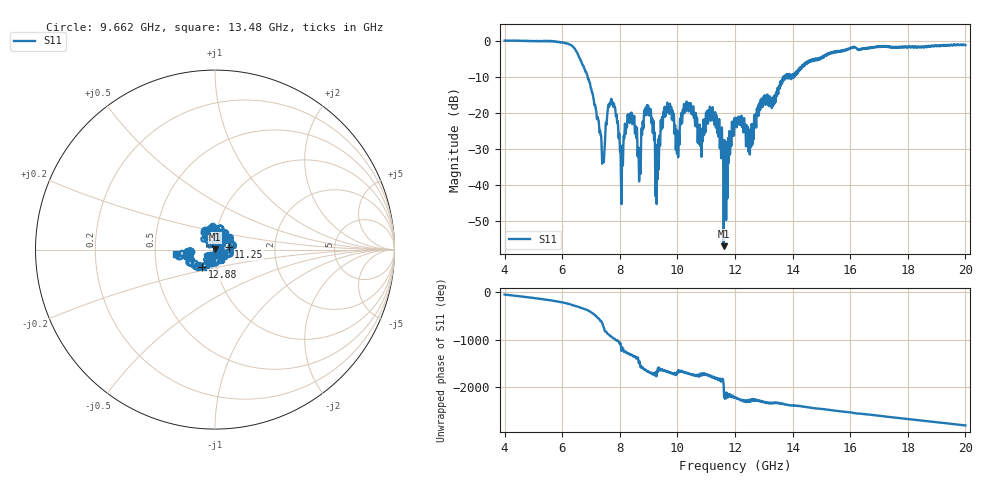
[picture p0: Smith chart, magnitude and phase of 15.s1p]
[Version] 2.0
! Rohde & Schwarz Vector Network Analyzer
! Rohde-Schwarz,ZNL20-2Port,1323001220200009,1.71.1.10-23.02.1.238
! Port Assignments:
! Nominal Port -> Actual Test Port
!  1 -> 1
! Created: GMT+2 2025-01-17 12:49:12
# Hz S RI R 50
[Number of Ports] 1
! freq[Hz]  S11[Re]  S11[Im]
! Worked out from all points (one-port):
!   16001 points, 4 GHz to 20 GHz, reference 50 ohm
!   lowest |S11| = -57.0 dB at 11.61 GHz (marker M1), VSWR 1.00, Z = 50.1 + j0.132 ohm
!   |S11| at or under -10 dB: 6.883 GHz to 13.7 GHz (6.815 GHz wide, 66.2 % of centre); 13.71195 GHz to 13.74004 GHz (28.09 MHz wide, 0.205 % of centre); 13.94137 GHz to 13.96404 GHz (22.67 MHz wide, 0.163 % of centre)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
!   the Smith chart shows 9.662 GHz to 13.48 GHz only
!   S11 on the Smith chart (normalised r, x): 9.662 GHz: 0.87, +0.19; 11.25 GHz: 1.16, +0.04; 12.88 GHz: 0.85, -0.17; 13.48 GHz: 0.64, -0.04
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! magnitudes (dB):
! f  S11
! 4 GHz  0.0
! 6 GHz  -0.5
! 6.89 GHz  -10.3
! 7.41 GHz  -32.3
! 7.629 GHz  -18.3
! 7.767 GHz  -18.2
! 8 GHz  -29.4
! 8.082 GHz  -29.2
! 8.342 GHz  -22.8
! 8.687 GHz  -30.7
! 8.824 GHz  -23.6
! 9.003 GHz  -20.5
! 9.298 GHz  -29.2
! 9.662 GHz  -18.4
! 10 GHz  -25.6
! 10.29 GHz  -19.5
! 10.78 GHz  -23.6
! 11.25 GHz  -22.2
! 11.61 GHz  -57.0
! 11.67 GHz  -28.1
! 12 GHz  -22.6
! 12.54 GHz  -24.6
! 12.88 GHz  -18.5
! 13.48 GHz  -13.2
! 14 GHz  -10.2
! 16 GHz  -2.0
! 18 GHz  -1.6
! 20 GHz  -1.2
